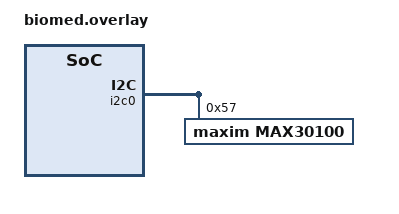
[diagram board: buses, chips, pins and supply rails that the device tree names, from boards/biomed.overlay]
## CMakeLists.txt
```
#-------------------------------------------------------------------------------
# Zephyr Example Application
#
# Copyright (c) 2021 Nordic Semiconductor ASA
# SPDX-License-Identifier: Apache-2.0

cmake_minimum_required(VERSION 3.13.1)
find_package(Zephyr REQUIRED HINTS $ENV{ZEPHYR_BASE})

project(app LANGUAGES C)

target_sources(app PRIVATE src/main.c)

add_subdirectory(src/bt)
add_subdirectory(src/ppg)
add_subdirectory(src/eda)
add_subdirectory(src/util)
```

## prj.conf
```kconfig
# Increased stack due to settings API usage
CONFIG_SYSTEM_WORKQUEUE_STACK_SIZE=2048

CONFIG_BT=y
CONFIG_BT_SMP=y
CONFIG_BT_SIGNING=y
CONFIG_BT_PERIPHERAL=y
CONFIG_BT_DEVICE_NAME="Zephyr Peripheral Sample"
CONFIG_BT_DIS=y
CONFIG_BT_ATT_PREPARE_COUNT=5
CONFIG_BT_DEVICE_APPEARANCE=833
CONFIG_BT_DEVICE_NAME_DYNAMIC=y
CONFIG_BT_DEVICE_NAME_MAX=65
CONFIG_BT_KEYS_OVERWRITE_OLDEST=y
CONFIG_BT_SETTINGS=y
CONFIG_FLASH=y
CONFIG_FLASH_MAP=y
CONFIG_NVS=y
CONFIG_SETTINGS=y

CONFIG_LOG=y
CONFIG_APP_LOG_LEVEL_DBG=y

CONFIG_ADC=y

CONFIG_MAX30100=y
```

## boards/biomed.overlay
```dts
/delete-node/ &max30101;

&i2c0 {
    max30100: max30100@57 {
		compatible = "maxim,max30100";
		status = "okay";
		reg = <0x57>;
	};
};
```

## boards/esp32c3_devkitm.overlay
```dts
/ {
	zephyr,user {
		io-channels = <&adc0 4>;
	};
};

&adc0 {
	status = "okay";
	#address-cells = <1>;
	#size-cells = <0>;

	channel@4 {
		reg = <4>;
		zephyr,gain = "ADC_GAIN_1";
		zephyr,reference = "ADC_REF_INTERNAL";
		zephyr,acquisition-time = <ADC_ACQ_TIME_DEFAULT>;
		zephyr,resolution = <12>;
	};
};
```

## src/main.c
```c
#include <zephyr/logging/log.h>
#include <zephyr/kernel.h>

#include "bt.h"
#include "ppg.h"
#include "eda.h"

#define MSG_PERIOD_MS (1000U)

LOG_MODULE_REGISTER(main, CONFIG_APP_LOG_LEVEL);

static void bt_connected_cb(void);
static void send_tmr_cb(struct k_timer *p_tmr);

K_TIMER_DEFINE(send_tmr, send_tmr_cb, NULL);

int main(void)
{
	LOG_INF("App start");
	ppg_init();
	eda_init();
	
	bt_start(bt_connected_cb);
	bt_connected_cb();

	return 0;
}

static void bt_connected_cb(void)
{
	ppg_start_sampling();
	eda_start_sampling();
	k_timer_start(&send_tmr, K_MSEC(MSG_PERIOD_MS), K_MSEC(MSG_PERIOD_MS));
}

static void send_tmr_cb(struct k_timer *p_tmr)
{
	uint8_t msg[BT_PAYLOAD_LEN];
	uint16_t rmssd;
	uint16_t ppg_ampl;
	uint16_t epc;

	/**
	 * Message bytes:
	 * [0] HR
	 * [1] RMSSD low byte
	 * [2] RMSSD high byte
	 * [3] PPG amplitude low byte
	 * [4] PPG amplitude high byte
	 * [5] EPC low byte
	 * [6] EPC high byte
	*/

	msg[0] = (uint8_t) ppg_get_hr_bpm();

	rmssd = (uint16_t) ppg_get_rmssd();
	msg[1] = (uint8_t) (rmssd & 0xFF);
	msg[2] = (uint8_t) (rmssd >> 8);

	ppg_ampl = (uint16_t) ppg_get_amplitude();
	msg[3] = (uint8_t) (ppg_ampl & 0xFF);
	msg[4] = (uint8_t) (ppg_ampl >> 8);

	epc = (uint16_t) eda_get_epc();
	msg[5] = (uint8_t) (epc & 0xFF);
	msg[6] = (uint8_t) (epc >> 8);

	LOG_DBG("Sending message: HR %d, RMSSD %d, PPG ampl %d, EPC %d",
			msg[0],
			((uint16_t) msg[2] << 8) | msg[1],
			((uint16_t) msg[4] << 8) | msg[3],
			((uint16_t) msg[6] << 8) | msg[5]);

	bt_send_notification(msg, BT_PAYLOAD_LEN);
}
```
